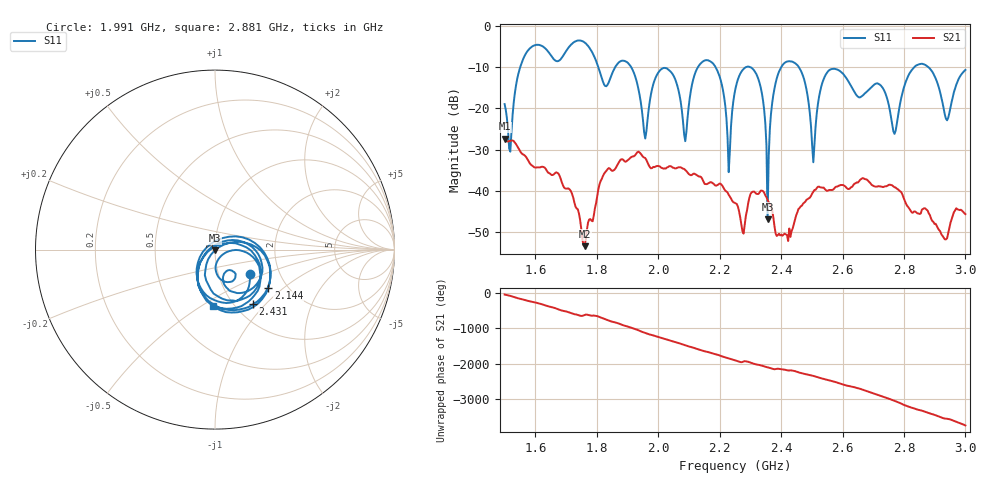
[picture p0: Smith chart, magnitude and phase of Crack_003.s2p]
# HZ S RI R 50
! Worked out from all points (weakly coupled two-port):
!   404 points, 1.5 GHz to 3 GHz, reference 50 ohm
!   highest |S21| = -27.35 dB at 1.5 GHz (marker M1); lowest = -53.5 dB at 1.761 GHz (marker M2)
!   lowest |S11| = -47.0 dB at 2.356 GHz (marker M3), VSWR 1.01, Z = 49.9 - j0.425 ohm
!   |S11| at or under -10 dB: 1.912 GHz to 2.129 GHz (217.3 MHz wide, 10.8 % of centre); 2.458 GHz to 2.834 GHz (376 MHz wide, 14.2 % of centre); 2.879 GHz to end of sweep (the widest 3 of 7)
!   S12 and S22 are empty: the file has one direction only
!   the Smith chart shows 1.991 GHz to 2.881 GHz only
!   S11 on the Smith chart (normalised r, x): 1.991 GHz: 1.41, -0.40; 2.144 GHz: 1.60, -0.80; 2.431 GHz: 1.21, -0.85; 2.881 GHz: 0.81, -0.56
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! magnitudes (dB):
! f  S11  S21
! 1.5 GHz  -19.0  -27.3
! 1.586 GHz  -5.2  -33.7
! 1.753 GHz  -3.7  -51.7
! 1.761 GHz  -4.0  -53.5
! 1.909 GHz  -9.7  -32.0
! 1.958 GHz  -27.3  -32.1
! 1.991 GHz  -12.6  -34.2
! 2.002 GHz  -11.1  -34.0
! 2.088 GHz  -28.0  -35.0
! 2.144 GHz  -8.7  -37.2
! 2.23 GHz  -35.5  -41.0
! 2.252 GHz  -15.1  -43.1
! 2.319 GHz  -11.6  -40.7
! 2.356 GHz  -47.0  -42.3
! 2.386 GHz  -12.8  -51.0
! 2.431 GHz  -8.6  -51.2
! 2.501 GHz  -29.1  -40.7
! 2.561 GHz  -10.6  -39.8
! 2.751 GHz  -19.2  -38.6
! 2.881 GHz  -10.1  -45.5
! 2.94 GHz  -22.9  -51.6
! 3 GHz  -10.7  -45.7
